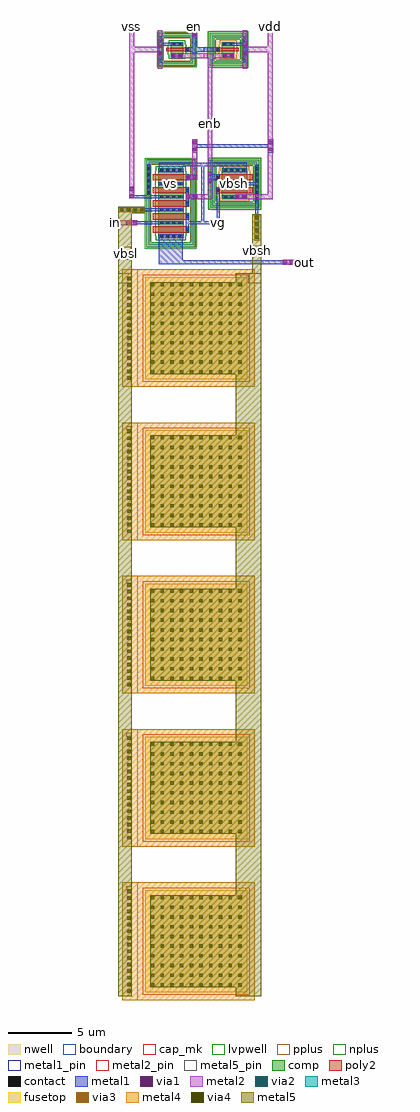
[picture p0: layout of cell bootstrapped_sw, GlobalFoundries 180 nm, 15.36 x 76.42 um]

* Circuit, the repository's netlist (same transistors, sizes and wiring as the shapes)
* NGSPICE file created from bootstrapped_sw.ext - technology: gf180mcuD

.subckt XM1_bs G D a_811_3903# S a_1507_3903#
X0 D G S a_811_3903# nfet_03v3 ad=0.88p pd=4.88u as=0.88p ps=4.88u w=2u l=0.5u
.ends

.subckt XM4_bs G D S
X0 D G S S pfet_03v3 ad=0.88p pd=4.88u as=0.88p ps=4.88u w=2u l=0.5u
.ends

.subckt XMs1_bs G D S a_n2855_n800#
X0 D G S a_n2855_n800# nfet_03v3 ad=0.88p pd=4.88u as=0.88p ps=4.88u w=2u l=0.5u
.ends

.subckt cap_mim_2p0fF_8JNR63 m4_n3440_n548# m4_n3800_n668#
X0 m4_n3440_n548# m4_n3800_n668# cap_mim_2f0fF c_width=8u c_length=8u
.ends

.subckt sw_cap_unit in out
Xcap_mim_2p0fF_8JNR63_0 out in cap_mim_2p0fF_8JNR63
.ends

.subckt sw_cap out in
Xsw_cap_unit_0 in out sw_cap_unit
Xsw_cap_unit_1 in out sw_cap_unit
Xsw_cap_unit_2 in out sw_cap_unit
Xsw_cap_unit_3 in out sw_cap_unit
Xsw_cap_unit_4 in out sw_cap_unit
.ends

.subckt XM3_bs G D S
X0 S G D S pfet_03v3 ad=0.88p pd=4.88u as=0.88p ps=4.88u w=2u l=0.5u
.ends

.subckt XMs_bs G D S a_846_4542#
X0 S G D a_846_4542# nfet_03v3 ad=0.88p pd=4.88u as=0.88p ps=4.88u w=2u l=0.5u
.ends

.subckt XM1_bs_inv G D S
X0 D G S S nfet_03v3 ad=0.44p pd=2.88u as=0.44p ps=2.88u w=1u l=0.28u
.ends

.subckt XM2_bs_inv G D S
X0 S G D S pfet_03v3 ad=0.44p pd=2.88u as=0.44p ps=2.88u w=1u l=0.28u
.ends

.subckt bs_inv in vdd out vss
XXM1_bs_inv_0 in out vss XM1_bs_inv
XXM2_bs_inv_0 in out vdd XM2_bs_inv
.ends

.subckt XM2_bs G D a_811_3460# a_1507_3460# S
X0 S G D a_811_3460# nfet_03v3 ad=0.88p pd=4.88u as=0.88p ps=4.88u w=2u l=0.5u
.ends

.subckt XMs2_bs B G D a_n3988_469# S a_n3988_1165#
X0 D G S a_n3988_469# nfet_03v3 ad=0.88p pd=4.88u as=0.88p ps=4.88u w=2u l=0.5u
.ends

.subckt bootstrapped_sw vbsl vbsh vs vg in vdd vss en enb out
XXM1_bs_0 vg vbsl vss in vss XM1_bs
XXM4_bs_0 enb vg vbsh XM4_bs
XXMs1_bs_0 vdd vs vg vss XMs1_bs
Xsw_cap_0 vbsh vbsl sw_cap
XXM3_bs_0 vg vdd vbsh XM3_bs
XXMs_bs_0 vg out in vss XMs_bs
Xbs_inv_0 en vdd enb vss bs_inv
XXM2_bs_0 enb vbsl vss vss vss XM2_bs
XXMs2_bs_0 XMs2_bs_0/B enb vss vss vs vss XMs2_bs
.ends

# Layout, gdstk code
from math import pi, radians
import gdstk
lib = gdstk.Library(unit=1e-6, precision=1e-09)
def R(c, l, rs):  # rectangles x0, y0, x1, y1
    for r in rs: c.add(gdstk.rectangle(r[:2], r[2:], *l))
def A(c, l, x, y, w, h, nx, ny, dx, dy):  # array of equal rectangles
    R(c, l, [(x+i*dx, y+j*dy, x+i*dx+w, y+j*dy+h) for i in range(nx) for j in range(ny)])
def P(c, l, *ps):  # polygons
    for p in ps: c.add(gdstk.Polygon(p, *l))
boundary = (0, 0)
nwell = (21, 0)
comp = (22, 0)
poly2 = (30, 0)
pplus = (31, 0)
nplus = (32, 0)
contact = (33, 0)
metal1 = (34, 0)
metal1_pin = (34, 10)
via1 = (35, 0)
metal2 = (36, 0)
metal2_pin = (36, 10)
via2 = (38, 0)
via3 = (40, 0)
via4 = (41, 0)
metal3 = (42, 0)
metal4 = (46, 0)
fusetop = (75, 0)
metal5 = (81, 0)
metal5_pin = (81, 10)
cap_mk = (117, 5)
lvpwell = (204, 0)

xms1 = lib.new_cell('XMs1')
R(xms1, boundary, [(-14.095,-3.82,-11.695,-0.34)])
R(xms1, comp, [(-14.275,-4,-11.515,-3.64), (-14.275,-3.64,-13.915,-0.52), (-13.585,-3.08,-12.205,-1.08), (-14.275,-0.52,-11.515,-0.16)])
R(xms1, poly2, [(-13.145,-3.495,-12.645,-0.62)])
R(xms1, pplus, [(-14.295,-4.02,-11.495,-3.62), (-14.295,-3.62,-13.885,-3.515), (-14.305,-3.515,-13.885,-0.645), (-14.295,-0.645,-13.885,-0.54), (-14.295,-0.54,-11.495,-0.14)])
R(xms1, nplus, [(-13.375,-3.31,-12.355,-3.24), (-13.745,-3.24,-12.045,-0.92), (-13.375,-0.92,-12.355,-0.85)])
A(xms1, contact, -13.515, -2.895, 0.22, 0.22, 1, 4, 0, 0.47)
A(xms1, contact, -12.495, -2.895, 0.22, 0.22, 1, 4, 0, 0.47)
R(xms1, contact, [(-13.005,-0.91,-12.785,-0.69)])
R(xms1, metal1, [(-14.045,-3.015,-13.29,-1.145), (-12.5,-3.015,-12.27,-1.145), (-13.135,-0.915,-12.655,-0.685)])
R(xms1, lvpwell, [(-14.395,-4.12,-11.335,-0.04)])

xm4 = lib.new_cell('XM4')
R(xm4, boundary, [(-13.26,1.47,-10.86,4.95)])
R(xm4, nwell, [(-13.56,1.17,-10.56,5.25)])
R(xm4, comp, [(-13.44,1.29,-10.68,1.65), (-13.44,1.65,-13.08,4.77), (-12.75,2.21,-11.37,4.21), (-13.44,4.77,-10.68,5.13)])
R(xm4, poly2, [(-12.31,1.795,-11.81,4.67)])
R(xm4, pplus, [(-12.54,1.98,-11.52,2.05), (-12.91,2.05,-11.21,4.37), (-12.54,4.37,-11.52,4.44)])
R(xm4, nplus, [(-13.6,1.13,-10.52,1.76), (-13.6,1.76,-12.97,4.66), (-13.6,4.66,-10.52,5.29)])
A(xm4, contact, -12.68, 2.395, 0.22, 0.22, 1, 4, 0, 0.47)
A(xm4, contact, -11.66, 2.395, 0.22, 0.22, 1, 4, 0, 0.47)
R(xm4, contact, [(-12.17,4.38,-11.95,4.6)])
R(xm4, metal1, [(-13.21,2.275,-12.455,4.145), (-11.665,2.275,-11.435,4.145)])
P(xm4, metal1, [(-12.3,4.375),(-12.3,4.735),(-12.3,4.95),(-11.82,4.95),(-11.82,4.375)])

xms2 = lib.new_cell('XMs2')
R(xms2, boundary, [(-19.76,2.525,-17.36,6.005)])
R(xms2, comp, [(-19.94,2.345,-17.18,2.705), (-19.25,3.265,-17.87,5.265), (-19.94,5.825,-17.18,6.185)])
R(xms2, poly2, [(-18.81,2.805,-18.31,5.68)])
R(xms2, pplus, [(-19.96,2.325,-17.16,2.725), (-19.96,5.805,-17.16,6.205)])
R(xms2, nplus, [(-19.04,3.035,-18.02,3.105), (-19.41,3.105,-17.71,5.425), (-19.04,5.425,-18.02,5.495)])
A(xms2, contact, -19.18, 3.45, 0.22, 0.22, 1, 4, 0, 0.47)
A(xms2, contact, -18.16, 3.45, 0.22, 0.22, 1, 4, 0, 0.47)
R(xms2, contact, [(-18.67,2.875,-18.45,3.095)])
R(xms2, metal1, [(-18.8,2.87,-18.32,3.1), (-19.185,3.33,-18.955,5.2), (-18.165,3.33,-17.935,5.2)])
R(xms2, lvpwell, [(-20.06,2.225,-17,6.305)])

xm2 = lib.new_cell('XM2')
R(xm2, boundary, [(4.235,17.48,7.715,19.88)])
R(xm2, comp, [(4.055,17.3,4.415,20.06), (7.535,17.3,7.895,20.06), (4.975,17.99,6.975,19.37)])
R(xm2, poly2, [(4.56,18.43,7.435,18.93)])
R(xm2, pplus, [(4.035,17.28,4.435,20.08), (7.515,17.28,7.915,20.08)])
R(xm2, nplus, [(4.815,17.83,7.135,19.53), (4.745,18.14,4.815,19.16), (7.135,18.2,7.205,19.16)])
A(xm2, contact, 5.16, 18.06, 0.22, 0.22, 4, 2, 0.47, 1.02)
R(xm2, contact, [(7.145,18.57,7.365,18.79)])
R(xm2, metal1, [(5.04,18.055,6.91,18.285), (7.14,18.44,7.37,18.92), (5.04,19.075,6.91,19.305)])
R(xm2, lvpwell, [(3.935,17.18,8.015,20.18)])

xms = lib.new_cell('XMs')
R(xms, boundary, [(4.41,22.89,7.89,25.29)])
R(xms, comp, [(4.23,22.71,4.59,25.47), (4.59,22.71,7.71,23.07), (7.71,22.71,8.07,25.47), (5.15,23.4,7.15,24.78)])
R(xms, poly2, [(4.735,23.84,7.61,24.34)])
R(xms, pplus, [(4.715,22.68,7.585,23.1), (4.21,22.69,4.61,25.49), (4.61,22.69,4.715,23.1), (7.585,22.69,7.69,23.1), (7.69,22.69,8.09,25.49)])
R(xms, nplus, [(4.99,23.24,7.31,24.94), (4.92,23.61,4.99,24.57), (7.31,23.61,7.38,24.63)])
A(xms, contact, 5.335, 23.47, 0.22, 0.22, 4, 2, 0.47, 1.02)
R(xms, contact, [(7.32,23.98,7.54,24.2)])
R(xms, metal1, [(5.215,21.37,7.085,23.695), (7.315,23.85,7.545,24.33), (5.215,24.485,7.085,24.715)])
R(xms, lvpwell, [(4.11,22.59,8.19,25.59)])

xm1 = lib.new_cell('XM1')
R(xm1, boundary, [(4.235,19.695,7.715,22.095)])
R(xm1, comp, [(4.055,19.515,4.415,22.275), (7.535,19.515,7.895,22.275), (4.975,20.205,6.975,21.585)])
R(xm1, poly2, [(4.56,20.645,7.435,21.145)])
R(xm1, pplus, [(4.035,19.495,4.435,22.295), (7.515,19.495,7.915,22.295)])
R(xm1, nplus, [(4.815,20.045,7.135,21.745), (4.745,20.355,4.815,21.375), (7.135,20.415,7.205,21.435)])
A(xm1, contact, 5.16, 20.275, 0.22, 0.22, 4, 2, 0.47, 1.02)
R(xm1, contact, [(7.145,20.785,7.365,21.005)])
R(xm1, metal1, [(5.04,20.27,6.91,20.5), (7.14,20.655,7.37,21.135), (5.04,21.29,6.91,21.52)])
R(xm1, lvpwell, [(3.935,19.395,8.015,22.395)])

xm3 = lib.new_cell('XM3')
R(xm3, boundary, [(-16.27,4.96,-13.87,8.44)])
R(xm3, nwell, [(-16.57,4.66,-13.57,8.74)])
R(xm3, comp, [(-16.45,4.78,-13.69,5.14), (-14.05,5.14,-13.69,8.26), (-15.76,5.7,-14.38,7.7), (-16.45,8.26,-13.69,8.62)])
R(xm3, poly2, [(-15.32,5.24,-14.82,8.115)])
R(xm3, pplus, [(-15.55,5.47,-14.59,5.54), (-15.92,5.54,-14.22,7.86), (-15.55,7.86,-14.59,7.93)])
R(xm3, nplus, [(-16.61,4.62,-13.53,5.25), (-14.16,5.25,-13.53,8.15), (-16.61,8.15,-13.53,8.78)])
A(xm3, contact, -15.69, 5.885, 0.22, 0.22, 1, 4, 0, 0.47)
A(xm3, contact, -14.67, 5.885, 0.22, 0.22, 1, 4, 0, 0.47)
R(xm3, contact, [(-15.18,5.31,-14.96,5.53)])
R(xm3, metal1, [(-15.31,5.305,-14.83,5.535), (-15.695,5.765,-15.465,7.635), (-14.675,5.765,-14.445,7.635)])

xm1_inv = lib.new_cell('XM1_inv')
R(xm1_inv, boundary, [(-1.09,-1.75,1.09,0.75)])
R(xm1_inv, comp, [(-1.27,-1.93,1.27,-1.57), (-1.27,-1.57,-0.91,0.57), (0.91,-1.57,1.27,0.57), (-0.58,-1,0.58,0), (-1.27,0.57,1.27,0.93)])
R(xm1_inv, poly2, [(-0.14,-1.35,0.14,0.1), (-0.18,0.1,0.18,0.46)])
R(xm1_inv, pplus, [(-1.29,-1.95,1.29,-1.55), (-1.29,-1.55,-0.88,-1.445), (0.88,-1.55,1.29,-1.445), (-1.3,-1.445,-0.88,0.445), (0.88,-1.445,1.3,0.445), (-1.29,0.445,-0.88,0.55), (0.88,0.445,1.29,0.55), (-1.29,0.55,1.29,0.95)])
R(xm1_inv, nplus, [(-0.37,-1.23,0.37,-1.16), (-0.74,-1.16,0.74,0.16), (-0.37,0.16,0.37,0.23)])
A(xm1_inv, contact, -0.815, -1.86, 0.22, 0.22, 4, 1, 0.47, 0)
R(xm1_inv, contact, [(-0.51,-0.845,-0.29,-0.625), (0.29,-0.845,0.51,-0.625), (-0.51,-0.375,-0.29,-0.155), (0.29,-0.375,0.51,-0.155), (-0.11,0.17,0.11,0.39)])
R(xm1_inv, metal1, [(-1,-1.865,1,-1.635), (-0.515,-1.75,-0.285,-0.065), (0.285,-0.935,0.515,-0.065), (-0.17,0.165,0.17,0.395)])
R(xm1_inv, lvpwell, [(-1.39,-2.05,1.39,1.05)])

xm2_inv = lib.new_cell('XM2_inv')
R(xm2_inv, boundary, [(-1.09,-1.25,1.09,1.25)])
R(xm2_inv, nwell, [(-1.39,-1.55,1.39,1.55)])
R(xm2_inv, comp, [(-1.27,-1.43,1.27,-1.07), (-1.27,-1.07,-0.91,1.07), (0.91,-1.07,1.27,1.07), (-0.58,-0.5,0.58,0.5), (-1.27,1.07,1.27,1.43)])
R(xm2_inv, poly2, [(-0.14,-0.85,0.14,0.6), (-0.18,0.6,0.18,0.96)])
R(xm2_inv, pplus, [(-0.37,-0.73,0.37,-0.66), (-0.74,-0.66,0.74,0.66), (-0.37,0.66,0.37,0.73)])
R(xm2_inv, nplus, [(-1.43,-1.59,1.43,-0.96), (-1.43,-0.96,-0.8,0.96), (0.8,-0.96,1.43,0.96), (-1.43,0.96,1.43,1.59)])
A(xm2_inv, contact, -0.815, -1.36, 0.22, 0.22, 4, 1, 0.47, 0)
R(xm2_inv, contact, [(-0.51,-0.345,-0.29,-0.125), (0.29,-0.345,0.51,-0.125), (-0.51,0.125,-0.29,0.345), (0.29,0.125,0.51,0.345), (-0.11,0.67,0.11,0.89)])
R(xm2_inv, metal1, [(-1,-1.365,1,-1.135), (0.285,-1.25,0.515,0.435), (-0.515,-0.435,-0.285,0.435), (-0.17,0.665,0.17,0.895)])

inv = lib.new_cell('inv')
R(inv, metal1, [(-0.45,-5.515,0.45,-5.135), (0.285,-4.465,0.665,-3.565), (-0.17,-3.335,0.17,-0.665), (0.285,-0.435,0.665,0.465), (-0.45,1.135,0.45,1.515)])
R(inv, metal1_pin, [(-1,-5.365,-0.77,-5.135), (-0.17,-1.92,0.17,-1.58), (-1.025,1.135,-0.795,1.365)])
R(inv, via1, [(-0.39,-5.455,-0.13,-5.195), (0.13,-5.455,0.39,-5.195), (0.345,-4.405,0.605,-4.145), (0.345,-3.885,0.605,-3.625), (0.345,-0.375,0.605,-0.115), (0.345,0.145,0.605,0.405), (-0.39,1.195,-0.13,1.455), (0.13,1.195,0.39,1.455)])
R(inv, metal2, [(-1.5,-5.515,1.5,-5.135), (-0.45,-5.515,0.45,-5.135), (0.285,-4.465,0.665,-3.565), (0.285,-4.465,0.665,0.465), (0.285,-0.435,0.665,0.465), (-1.5,1.135,1.5,1.515), (-0.45,1.135,0.45,1.515)])
R(inv, metal2_pin, [(0.285,-1.92,0.665,-1.58)])
inv.add(gdstk.Reference(xm1_inv, (0,-3.5)))
inv.add(gdstk.Reference(xm2_inv, (0,0), rotation=pi))
inv.add(gdstk.Label('in', (-0.001,-1.737), layer=34, texttype=10))
inv.add(gdstk.Label('vdd', (-0.911,1.25), layer=34, texttype=10))
inv.add(gdstk.Label('vss', (-0.886,-5.25), layer=34, texttype=10))
inv.add(gdstk.Label('out', (0.47,-1.748), layer=36, texttype=10))

cap_mim_2p0ff_8jnr63 = lib.new_cell('cap_mim_2p0fF_8JNR63')
R(cap_mim_2p0ff_8jnr63, boundary, [(-17.799,-3.342,-8.599,5.858)])
A(cap_mim_2p0ff_8jnr63, via4, -18.599, -2.772, 0.26, 0.26, 1, 16, 0, 0.52)
A(cap_mim_2p0ff_8jnr63, via4, -16.749, -2.292, 0.26, 0.26, 10, 10, 0.76, 0.76)
R(cap_mim_2p0ff_8jnr63, metal4, [(-18.999,-3.342,-8.599,5.858)])
R(cap_mim_2p0ff_8jnr63, fusetop, [(-17.199,-2.742,-9.199,5.258)])
R(cap_mim_2p0ff_8jnr63, metal5, [(-18.689,-3.057,-18.249,5.573), (-16.799,-2.342,-9.599,4.858)])
R(cap_mim_2p0ff_8jnr63, cap_mk, [(-17.399,-2.942,-8.999,5.458)])

sw_cap_unit = lib.new_cell('sw_cap_unit')
R(sw_cap_unit, metal5_pin, [(-5.939,6.507,-5.499,6.792), (-14.589,7.222,-14.149,7.507)])
sw_cap_unit.add(gdstk.Reference(cap_mim_2p0ff_8jnr63, (4.1,4.45), x_reflection=True))
sw_cap_unit.add(gdstk.Label('out', (-5.714,6.662), layer=81, texttype=10))
sw_cap_unit.add(gdstk.Label('in', (-14.364,7.377), layer=81, texttype=10))

sw_cap = lib.new_cell('sw_cap')
R(sw_cap, metal5, [(-1.39,-47.865,-0.35,8.765), (7.8,-47.865,9.8,8.765)])
R(sw_cap, metal5_pin, [(-1.39,7.948,-0.35,8.752), (8.76,7.948,9.8,8.752)])
sw_cap.add(gdstk.Reference(sw_cap_unit, (13.799,1.258)))
sw_cap.add(gdstk.Reference(sw_cap_unit, (13.799,-10.742)))
sw_cap.add(gdstk.Reference(sw_cap_unit, (13.799,-22.742)))
sw_cap.add(gdstk.Reference(sw_cap_unit, (13.799,-34.742)))
sw_cap.add(gdstk.Reference(sw_cap_unit, (13.799,-46.742)))
sw_cap.add(gdstk.Label('out', (9.28,8.35), layer=81, texttype=10))
sw_cap.add(gdstk.Label('in', (-0.87,8.35), layer=81, texttype=10))

bootstrapped_sw = lib.new_cell('bootstrapped_sw')
A(bootstrapped_sw, contact, 12.63, 15.205, 0.22, 0.22, 1, 6, 0, 0.47)
A(bootstrapped_sw, contact, 4.15, 15.685, 0.22, 0.22, 1, 5, 0, 0.47)
R(bootstrapped_sw, metal1, [(14.75,10.16,15.65,10.54), (5.065,10.2,14.75,10.5), (12.54,12.04,12.94,13.08), (5.065,12.295,6.935,12.525), (7.165,12.68,7.395,14.18), (12.54,13.08,12.94,14.12), (2.49,13.24,3.39,13.62), (2.49,13.315,6.49,13.545), (7.165,13.315,9.835,13.545), (8.385,13.315,8.615,18.15), (12.625,13.99,12.855,17.99), (1.9,14.25,2.94,14.65), (2.94,14.25,3.98,14.65), (2.94,14.335,6.935,14.565), (7.165,14.72,7.395,16.22), (12.625,14.99,12.855,17.99), (7.165,15.28,8.065,15.66), (11.035,15.28,11.935,15.66), (2.75,15.355,3.13,16.255), (2.75,15.355,6.935,15.585), (4.145,15.355,4.375,18), (2.9,15.385,3.13,16.255), (7.165,15.43,8.035,15.66), (11.035,15.43,11.905,15.66), (10.065,16.375,12.855,16.605), (8.88,16.55,9.26,17.45), (9.03,16.58,9.26,17.45), (7.155,16.81,8.055,17.19), (7.155,16.96,8.025,17.19), (5.065,17.85,11.935,18.15), (7.665,18.93,8.065,19.97), (13.605,18.93,14.005,19.97), (7.735,19.32,13.93,19.58), (7.665,26.715,8.065,29), (7.665,27.96,8.065,29)])
P(bootstrapped_sw, metal1, [(9.605,13.315),(9.605,16.22),(9.835,16.22),(9.835,13.315),(9.665,13.315)])
R(bootstrapped_sw, metal1_pin, [(9.605,13.315,9.835,13.545), (5.875,16.375,6.125,16.605), (10.875,16.375,11.125,16.605)])
A(bootstrapped_sw, via1, 12.61, 12.17, 0.26, 0.26, 1, 4, 0, 0.52)
A(bootstrapped_sw, via1, 2.03, 14.32, 0.26, 0.26, 4, 1, 0.52, 0)
R(bootstrapped_sw, via1, [(14.81,10.22,15.07,10.48), (15.33,10.22,15.59,10.48), (2.55,13.3,2.81,13.56), (3.07,13.3,3.33,13.56), (7.225,15.34,7.485,15.6), (7.745,15.34,8.005,15.6), (11.095,15.34,11.355,15.6), (11.615,15.34,11.875,15.6), (2.81,15.415,3.07,15.675), (2.81,15.935,3.07,16.195), (8.94,16.61,9.2,16.87), (7.215,16.87,7.475,17.13), (7.735,16.87,7.995,17.13), (8.94,17.13,9.2,17.39), (7.735,19.06,7.995,19.32), (13.675,19.06,13.935,19.32), (7.735,19.58,7.995,19.84), (13.675,19.58,13.935,19.84), (7.735,28.09,7.995,28.35), (7.735,28.61,7.995,28.87)])
R(bootstrapped_sw, metal2, [(14.75,10.16,15.65,10.54), (14.75,10.16,16.75,10.54), (12.54,12.04,12.94,13.08), (12.54,13.08,12.94,14.12), (1.39,13.24,3.39,13.62), (2.49,13.24,3.39,13.62), (1.9,14.25,2.94,14.65), (2.94,14.25,3.98,14.65), (7.165,15.28,8.065,15.66), (7.165,15.28,9.26,15.66), (8.88,15.28,9.26,26.715), (11.03,15.28,14,15.66), (11.035,15.28,11.935,15.66), (13.61,15.28,14,29), (2.75,15.355,3.13,16.255), (2.75,15.355,3.13,29), (8.88,16.55,9.26,17.45), (7.155,16.81,8.055,17.19), (7.675,16.81,8.055,19.9), (7.665,18.93,8.065,19.97), (13.605,18.93,14.005,19.97), (2.75,26.8,5.35,27.2), (11.62,26.8,14,27.2), (7.665,27.96,8.065,29)])
R(bootstrapped_sw, metal2_pin, [(16.25,10.16,16.75,10.54), (1.39,13.24,1.89,13.62), (8.88,21.02,9.27,21.4), (2.75,28.62,3.13,29), (7.67,28.62,8.06,29), (13.61,28.62,14,29)])
A(bootstrapped_sw, via2, 12.61, 12.17, 0.26, 0.26, 1, 4, 0, 0.52)
A(bootstrapped_sw, via2, 2.03, 14.32, 0.26, 0.26, 4, 1, 0.52, 0)
A(bootstrapped_sw, via3, 12.61, 12.17, 0.26, 0.26, 1, 4, 0, 0.52)
A(bootstrapped_sw, via3, 2.03, 14.32, 0.26, 0.26, 4, 1, 0.52, 0)
A(bootstrapped_sw, via4, 12.61, 12.17, 0.26, 0.26, 1, 4, 0, 0.52)
A(bootstrapped_sw, via4, 2.03, 14.32, 0.26, 0.26, 4, 1, 0.52, 0)
R(bootstrapped_sw, metal3, [(12.54,12.04,12.94,13.08), (12.54,13.08,12.94,14.12), (1.9,14.25,2.94,14.65), (2.94,14.25,3.98,14.65)])
R(bootstrapped_sw, metal4, [(12.54,12.04,12.94,13.08), (12.54,13.08,12.94,14.12), (1.9,14.25,2.94,14.65), (2.94,14.25,3.98,14.65)])
R(bootstrapped_sw, metal5, [(1.9,9.5,2.94,14.25), (12.39,9.5,13.09,14.12), (12.54,12.04,12.94,13.08), (12.54,13.08,12.94,14.12), (1.9,14.2,2.94,14.7), (2.94,14.2,3.98,14.7)])
R(bootstrapped_sw, metal5_pin, [(1.92,10.55,2.92,11.55), (12.39,10.93,13.09,11.63)])
bootstrapped_sw.add(gdstk.Reference(xms1, (8.08,4.105), rotation=3*pi/2))
bootstrapped_sw.add(gdstk.Reference(xm4, (14.21,4.94), rotation=3*pi/2, x_reflection=True))
bootstrapped_sw.add(gdstk.Reference(xms2, (10.265,-2.58), rotation=3*pi/2, x_reflection=True))
bootstrapped_sw.add(gdstk.Reference(xm2, (0.025,-3.72)))
bootstrapped_sw.add(gdstk.Reference(xms, (-0.15,-11.17)))
bootstrapped_sw.add(gdstk.Reference(xm1, (0.025,-6.955)))
bootstrapped_sw.add(gdstk.Reference(xm3, (4.3,0.91), rotation=3*pi/2))
bootstrapped_sw.add(gdstk.Reference(inv, (10.485,27), rotation=3*pi/2))
bootstrapped_sw.add(gdstk.Reference(sw_cap, (3.29,0.735)))
bootstrapped_sw.add(gdstk.Label('vs', (5.995,16.5), layer=34, texttype=10))
bootstrapped_sw.add(gdstk.Label('vbsh', (10.995,16.5), layer=34, texttype=10))
bootstrapped_sw.add(gdstk.Label('vg', (9.72,13.425), layer=34, texttype=10))
bootstrapped_sw.add(gdstk.Label('in', (1.64,13.43), layer=36, texttype=10))
bootstrapped_sw.add(gdstk.Label('vdd', (13.805,28.81), layer=36, texttype=10))
bootstrapped_sw.add(gdstk.Label('vss', (2.94,28.81), layer=36, texttype=10))
bootstrapped_sw.add(gdstk.Label('en', (7.865,28.81), layer=36, texttype=10))
bootstrapped_sw.add(gdstk.Label('enb', (9.075,21.21), layer=36, texttype=10))
bootstrapped_sw.add(gdstk.Label('out', (16.5,10.35), layer=36, texttype=10))
bootstrapped_sw.add(gdstk.Label('vbsl', (2.42,11.05), layer=81, texttype=10))
bootstrapped_sw.add(gdstk.Label('vbsh', (12.755,11.265), layer=81, texttype=10))

lib.write_gds('bootstrapped_sw.gds')
